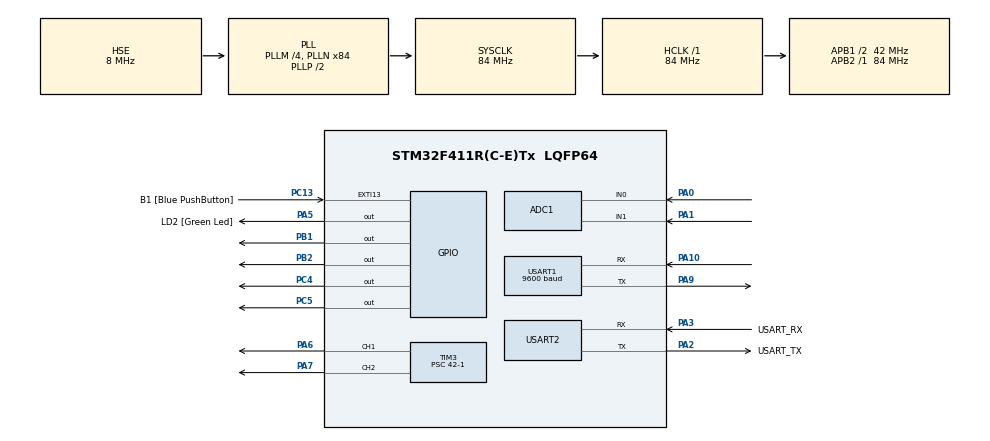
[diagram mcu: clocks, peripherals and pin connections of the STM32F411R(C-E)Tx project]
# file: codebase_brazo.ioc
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ADC1.Channel-0\#ChannelRegularConversion=ADC_CHANNEL_0
ADC1.Channel-1\#ChannelRegularConversion=ADC_CHANNEL_1
ADC1.ContinuousConvMode=ENABLE
ADC1.DMAContinuousRequests=ENABLE
ADC1.EOCSelection=ADC_EOC_SEQ_CONV
ADC1.NbrOfConversion=2
ADC1.NbrOfConversionFlag=1
ADC1.Rank-0\#ChannelRegularConversion=1
ADC1.Rank-1\#ChannelRegularConversion=2
ADC1.SamplingTime-0\#ChannelRegularConversion=ADC_SAMPLETIME_84CYCLES
ADC1.SamplingTime-1\#ChannelRegularConversion=ADC_SAMPLETIME_84CYCLES
ADC1.ScanConvMode=ENABLE
ADC1.master=1
Dma.ADC1.0.Direction=DMA_PERIPH_TO_MEMORY
Dma.ADC1.0.FIFOMode=DMA_FIFOMODE_DISABLE
Dma.ADC1.0.Instance=DMA2_Stream0
Dma.ADC1.0.MemDataAlignment=DMA_MDATAALIGN_HALFWORD
Dma.ADC1.0.MemInc=DMA_MINC_ENABLE
Dma.ADC1.0.Mode=DMA_CIRCULAR
Dma.ADC1.0.PeriphDataAlignment=DMA_PDATAALIGN_HALFWORD
Dma.ADC1.0.PeriphInc=DMA_PINC_DISABLE
Dma.ADC1.0.Priority=DMA_PRIORITY_HIGH
Dma.Request0=ADC1
Mcu.Family=STM32F4
Mcu.Name=STM32F411R(C-E)Tx
Mcu.Package=LQFP64
NVIC.DMA2_Stream0_IRQn=true\:0\:0\:false\:false\:true\:false\:true\:true
NVIC.PriorityGroup=NVIC_PRIORITYGROUP_0
NVIC.TIM2_IRQn=true\:0\:0\:false\:true\:true\:2\:true\:true\:true
NVIC.TIM4_IRQn=true\:0\:0\:false\:true\:true\:1\:true\:true\:true
PA0-WKUP.Signal=ADCx_IN0
PA1.Signal=ADCx_IN1
PA10.Mode=Asynchronous
PA10.Signal=USART1_RX
PA13.GPIO_Label=TMS
PA13.Mode=Serial_Wire
PA13.Signal=SYS_JTMS-SWDIO
PA14.GPIO_Label=TCK
PA14.Mode=Serial_Wire
PA14.Signal=SYS_JTCK-SWCLK
PA2.GPIO_Label=USART_TX
PA2.Mode=Asynchronous
PA2.Signal=USART2_TX
PA3.GPIO_Label=USART_RX
PA3.Mode=Asynchronous
PA3.Signal=USART2_RX
PA5.GPIO_Label=LD2 [Green Led]
PA5.Signal=GPIO_Output
PA6.Signal=S_TIM3_CH1
PA7.Signal=S_TIM3_CH2
PA9.Mode=Asynchronous
PA9.Signal=USART1_TX
PB1.Signal=GPIO_Output
PB2.Signal=GPIO_Output
PB3.GPIO_Label=SWO
PB3.Signal=SYS_JTDO-SWO
PC13-ANTI_TAMP.GPIO_Label=B1 [Blue PushButton]
PC13-ANTI_TAMP.GPIO_ModeDefaultEXTI=GPIO_MODE_IT_FALLING
PC13-ANTI_TAMP.Signal=GPXTI13
PC14-OSC32_IN.Mode=LSE-External-Oscillator
PC14-OSC32_IN.Signal=RCC_OSC32_IN
PC15-OSC32_OUT.Mode=LSE-External-Oscillator
PC15-OSC32_OUT.Signal=RCC_OSC32_OUT
PC4.Signal=GPIO_Output
PC5.Signal=GPIO_Output
PH0\ -\ OSC_IN.Mode=HSE-External-Oscillator
PH0\ -\ OSC_IN.Signal=RCC_OSC_IN
PH1\ -\ OSC_OUT.Mode=HSE-External-Oscillator
PH1\ -\ OSC_OUT.Signal=RCC_OSC_OUT
ProjectManager.HeapSize=0x200
ProjectManager.StackSize=0x400
ProjectManager.TargetToolchain=STM32CubeIDE
RCC.48MHZClocksFreq_Value=42000000
RCC.AHBFreq_Value=84000000
RCC.APB1CLKDivider=RCC_HCLK_DIV2
RCC.APB1Freq_Value=42000000
RCC.APB1TimFreq_Value=84000000
RCC.APB2Freq_Value=84000000
RCC.APB2TimFreq_Value=84000000
RCC.CortexFreq_Value=84000000
RCC.FLatency-AdvancedSettings=FLASH_LATENCY_2
RCC.HCLKFreq_Value=84000000
RCC.HSE_VALUE=8000000
RCC.HSI_VALUE=16000000
RCC.PLLM=4
RCC.PLLN=84
RCC.PLLSourceVirtual=RCC_PLLSOURCE_HSE
RCC.SYSCLKFreq_VALUE=84000000
RCC.SYSCLKSource=RCC_SYSCLKSOURCE_PLLCLK
RCC.VCOOutputFreq_Value=168000000
SH.ADCx_IN0.0=ADC1_IN0,IN0
SH.ADCx_IN1.0=ADC1_IN1,IN1
SH.S_TIM3_CH1.0=TIM3_CH1,PWM Generation1 CH1
SH.S_TIM3_CH2.0=TIM3_CH2,PWM Generation2 CH2
TIM2.Period=10000-1
TIM2.Prescaler=8400-1
TIM3.AutoReloadPreload=TIM_AUTORELOAD_PRELOAD_ENABLE
TIM3.Channel-PWM\ Generation1\ CH1=TIM_CHANNEL_1
TIM3.Channel-PWM\ Generation2\ CH2=TIM_CHANNEL_2
TIM3.Period=1000-1
TIM3.Prescaler=42-1
TIM4.Period=100-1
TIM4.Prescaler=8400-1
USART1.BaudRate=9600
USART1.VirtualMode=VM_ASYNC
USART2.VirtualMode=VM_ASYNC
VP_TIM2_VS_ClockSourceINT.Mode=Internal
VP_TIM3_VS_ClockSourceINT.Mode=Internal
VP_TIM4_VS_ClockSourceINT.Mode=Internal
board=NUCLEO-F411RE

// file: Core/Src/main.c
/* USER CODE BEGIN Header */
/**
  ******************************************************************************
  * @file           : main.c
  * @brief          : Main program body - Código combinado actuadores + RoboClaw
  ******************************************************************************
  * @attention
  *
  * Copyright (c) 2026 STMicroelectronics.
  * All rights reserved.
  *
  * This software is licensed under terms that can be found in the LICENSE file
  * in the root directory of this software component.
  * If no LICENSE file comes with this software, it is provided AS-IS.
  *
  ******************************************************************************
  */
/* USER CODE END Header */
#include "main.h"
#include "adc.h"
#include "dma.h"
#include "tim.h"
#include "usart.h"
#include "gpio.h"

/* USER CODE BEGIN Includes */
#include "RoboClaw.h"
#include <stdio.h>
#include <stdlib.h>
#include <stdbool.h>
#include <unistd.h>
#include <string.h>
/* USER CODE END Includes */

/* USER CODE BEGIN PD */
// Direcciones RoboClaw
#define RC_ADDR_BASE   0x81
#define RC_ADDR_WRIST  0x80

// Timeout de seguridad para RoboClaw (7 segundos)
#define TIMEOUT_MS 7000

#define RX_BUFFER_SIZE 128
/* USER CODE END PD */

/* USER CODE BEGIN PV */
char rx_buffer[RX_BUFFER_SIZE];
uint8_t rx_index = 0;

// Variables para actuadores lineales (ADC/PWM)
uint16_t adc_val[2];      // Buffer ADC (DMA)

int pos1 = 0;             // Posición objetivo actuador 1
int pos2 = 0;             // Posición objetivo actuador 2

float kp = 0.8f;          // Ganancia proporcional

int e1 = 0;               // Error actuador 1
int e2 = 0;               // Error actuador 2

int duty1 = 0;            // Duty cycle actuador 1
int duty2 = 0;            // Duty cycle actuador 2

// Variables para RoboClaw
RoboClaw_HandleTypeDef rcBase;
RoboClaw_HandleTypeDef rcWrist;

uint32_t lastCommandTime = 0;
bool motorsRunning = false;

// Scheduler por timers
volatile uint8_t flag_control = 0;
volatile uint8_t flag_print = 0;

/* USER CODE END PV */

void SystemClock_Config(void);
/* USER CODE BEGIN PFP */
// Funciones UART/printf
int uart2_write(int ch);
int __io_putchar(int ch);
int _read(int file, char *ptr, int len);
//funcion UART Ros
void parseROSCommand(char *cmd);
//feedback to ros
void sendROSFeedback(void);

// Funciones actuadores lineales
void forwardAct(int actuator, int duty);
void backwardAct(int actuator, int duty);
void actStop(void);

// Funciones RoboClaw
void stopAllRoboClaw(void);
void processCommand(uint8_t ch);
/* USER CODE END PFP */

int main(void)
{

  /* MCU Configuration--------------------------------------------------------*/

  /* Reset of all peripherals, Initializes the Flash interface and the Systick. */
  HAL_Init();

  /* Configure the system clock */
  SystemClock_Config();

  /* Initialize all configured peripherals */
  MX_GPIO_Init();
  MX_DMA_Init();
  MX_USART2_UART_Init();
  MX_ADC1_Init();
  MX_TIM3_Init();
  MX_USART1_UART_Init();
  MX_TIM2_Init();
  MX_TIM4_Init();
  /* USER CODE BEGIN 2 */

  //Inicializacion actuadores lineales
  HAL_TIM_PWM_Start(&htim3, TIM_CHANNEL_1);
  HAL_TIM_PWM_Start(&htim3, TIM_CHANNEL_2);
  HAL_ADC_Start_DMA(&hadc1, (uint32_t*)&adc_val, 2);

  // Iniciar timers scheduler
  HAL_TIM_Base_Start_IT(&htim4);   // control loop
  HAL_TIM_Base_Start_IT(&htim2);   // impresión debug

  // Inicializacion RoboClaw
  RoboClaw_Init(&rcBase, &huart1, 100);
  RoboClaw_Init(&rcWrist, &huart1, 100);

  // Detener todos los motores al inicio
  actStop();
  stopAllRoboClaw();

  // Mensaje de bienvenida
  printf("\r\n========================================\r\n");
  printf("		Control Base STM32\r\n");
  printf("========================================\r\n");
  printf("Controles Actuadores Lineales:\r\n");
  printf("  1/2/3 - Actuador 1: 25%%/50%%/75%%\r\n");
  printf("  4/5/6 - Actuador 2: 25%%/50%%/75%%\r\n");
  printf("  0 - Ambos a 0%%\r\n");
  printf("  9 - Ambos a 100%%\r\n");
  printf("----------------------------------------\r\n");
  printf("Controles RoboClaw:\r\n");
  printf("  A/D - Base izquierda/derecha\r\n");
  printf("  W/S - Muneca subir/bajar\r\n");
  printf("  Q/E - Muneca rotar izq/der\r\n");
  printf("  ESPACIO - Detener RoboClaw\r\n");
  printf("  X - Detener TODO\r\n");
  printf("----------------------------------------\r\n");
  printf("Auto-stop RoboClaw: 7 segundos\r\n\r\n");

  /* USER CODE END 2 */

  /* Infinite loop */
  /* USER CODE BEGIN WHILE */
  while (1)
  {

      // Control de actuadores
      if(flag_control==1)
      {
          flag_control = 0;

          int current1 = (adc_val[0] * 100) / 4095;
          int current2 = (adc_val[1] * 100) / 4095;

          // Calcular error
          e1 = pos1 - current1;
          e2 = pos2 - current2;

          // ACTUADOR 1
          if(abs(e1) < 2){
              __HAL_TIM_SET_COMPARE(&htim3, TIM_CHANNEL_1, 0);
              HAL_GPIO_WritePin(GPIOC, GPIO_PIN_4, GPIO_PIN_RESET);
              HAL_GPIO_WritePin(GPIOC, GPIO_PIN_5, GPIO_PIN_RESET);
          }else{
              duty1 = (int)(kp * abs(e1));
              if(duty1 > 49) duty1 = 49;

              if(e1 > 0){
                  forwardAct(1, duty1);
              }else{
                  backwardAct(1, duty1);
              }
          }

          // ACTUADOR 2
          if(abs(e2) < 2){
              __HAL_TIM_SET_COMPARE(&htim3, TIM_CHANNEL_2, 0);
              HAL_GPIO_WritePin(GPIOB, GPIO_PIN_0, GPIO_PIN_RESET);
              HAL_GPIO_WritePin(GPIOB, GPIO_PIN_1, GPIO_PIN_RESET);
          }else{
              duty2 = (int)(kp * abs(e2));
              if(duty2 > 49) duty2 = 49;

              if(e2 > 0){
                  forwardAct(2, duty2);
              }else{
                  backwardAct(2, duty2);
              }
          }

          //Revisar comandos UART ROS
          uint8_t ch;

          if(HAL_UART_Receive(&huart2, &ch, 1, 0) == HAL_OK)
          {
        	  if(ch == '\n')
        	  {
        	      if(rx_index > 0)
        	      {
        	          rx_buffer[rx_index] = 0;
        	          parseROSCommand(rx_buffer);
        	          rx_index = 0;
        	      }
        	  }
        	  else if(ch != '\r')
        	  {
        	      if(rx_index < RX_BUFFER_SIZE-1)
        	      {
        	          rx_buffer[rx_index++] = ch;
        	      }
        	      else
        	      {
        	          rx_index = 0;
        	      }
        	  }
          }

          //Timeout RoboClaw
          if (motorsRunning && (HAL_GetTick() - lastCommandTime > TIMEOUT_MS))
          {
              stopAllRoboClaw();
              motorsRunning = false;
              printf(">> AUTO-STOP RoboClaw (timeout 7s)\r\n");
          }
      }

      //  Impresion debug
      if(flag_print==1)
      {
          flag_print = 0;

          sendROSFeedback();
      }

  }
}

void SystemClock_Config(void)
{
  RCC_OscInitTypeDef RCC_OscInitStruct = {0};
  RCC_ClkInitTypeDef RCC_ClkInitStruct = {0};

  /** Configure the main internal regulator output voltage
  */
  __HAL_RCC_PWR_CLK_ENABLE();
  __HAL_PWR_VOLTAGESCALING_CONFIG(PWR_REGULATOR_VOLTAGE_SCALE1);

  /** Initializes the RCC Oscillators according to the specified parameters
  * in the RCC_OscInitTypeDef structure.
  */
  RCC_OscInitStruct.OscillatorType = RCC_OSCILLATORTYPE_HSE;
  RCC_OscInitStruct.HSEState = RCC_HSE_ON;
  RCC_OscInitStruct.PLL.PLLState = RCC_PLL_ON;
  RCC_OscInitStruct.PLL.PLLSource = RCC_PLLSOURCE_HSE;
  RCC_OscInitStruct.PLL.PLLM = 4;
  RCC_OscInitStruct.PLL.PLLN = 84;
  RCC_OscInitStruct.PLL.PLLP = RCC_PLLP_DIV2;
  RCC_OscInitStruct.PLL.PLLQ = 4;
  if (HAL_RCC_OscConfig(&RCC_OscInitStruct) != HAL_OK)
  {
    Error_Handler();
  }

  /** Initializes the CPU, AHB and APB buses clocks
  */
  RCC_ClkInitStruct.ClockType = RCC_CLOCKTYPE_HCLK|RCC_CLOCKTYPE_SYSCLK
                              |RCC_CLOCKTYPE_PCLK1|RCC_CLOCKTYPE_PCLK2;
  RCC_ClkInitStruct.SYSCLKSource = RCC_SYSCLKSOURCE_PLLCLK;
  RCC_ClkInitStruct.AHBCLKDivider = RCC_SYSCLK_DIV1;
  RCC_ClkInitStruct.APB1CLKDivider = RCC_HCLK_DIV2;
  RCC_ClkInitStruct.APB2CLKDivider = RCC_HCLK_DIV1;

  if (HAL_RCC_ClockConfig(&RCC_ClkInitStruct, FLASH_LATENCY_2) != HAL_OK)
  {
    Error_Handler();
  }
}

/* USER CODE BEGIN 4 */

// Funciones UART/printf
int uart2_write(int ch){
    while(!(USART2->SR & USART_SR_TXE)){}
    USART2->DR = (ch & 0xFF);
    return ch;
}

int __io_putchar(int ch){
    uart2_write(ch);
    return ch;
}

int _read(int file, char *ptr, int len){
    if (file == STDIN_FILENO){
        int count = 0;
        while(count < len){
            uint8_t ch;
            if(HAL_UART_Receive(&huart2, &ch, 1, HAL_MAX_DELAY) != HAL_OK)
                break;
            ptr[count++] = (char)ch;
            if(ch == '\n' || ch == '\r') break;
        }
        return count;
    }
    return -1;
}

// Funciones Actuadores Lineales
void forwardAct(int actuator, int duty){
    if(actuator == 1){
        __HAL_TIM_SET_COMPARE(&htim3, TIM_CHANNEL_1, duty);
        HAL_GPIO_WritePin(GPIOC, GPIO_PIN_4, GPIO_PIN_SET);
        HAL_GPIO_WritePin(GPIOC, GPIO_PIN_5, GPIO_PIN_RESET);
    }
    else if(actuator == 2){
        __HAL_TIM_SET_COMPARE(&htim3, TIM_CHANNEL_2, duty);
        HAL_GPIO_WritePin(GPIOB, GPIO_PIN_0, GPIO_PIN_SET);
        HAL_GPIO_WritePin(GPIOB, GPIO_PIN_1, GPIO_PIN_RESET);
    }
}

void backwardAct(int actuator, int duty){
    if(actuator == 1){
        __HAL_TIM_SET_COMPARE(&htim3, TIM_CHANNEL_1, duty);
        HAL_GPIO_WritePin(GPIOC, GPIO_PIN_4, GPIO_PIN_RESET);
        HAL_GPIO_WritePin(GPIOC, GPIO_PIN_5, GPIO_PIN_SET);
    }
    else if(actuator == 2){
        __HAL_TIM_SET_COMPARE(&htim3, TIM_CHANNEL_2, duty);
        HAL_GPIO_WritePin(GPIOB, GPIO_PIN_0, GPIO_PIN_RESET);
        HAL_GPIO_WritePin(GPIOB, GPIO_PIN_1, GPIO_PIN_SET);
    }
}

void actStop(void){
    __HAL_TIM_SET_COMPARE(&htim3, TIM_CHANNEL_1, 0);
    __HAL_TIM_SET_COMPARE(&htim3, TIM_CHANNEL_2, 0);
    HAL_GPIO_WritePin(GPIOB, GPIO_PIN_0, GPIO_PIN_RESET);
    HAL_GPIO_WritePin(GPIOB, GPIO_PIN_1, GPIO_PIN_RESET);
    HAL_GPIO_WritePin(GPIOC, GPIO_PIN_4, GPIO_PIN_RESET);
    HAL_GPIO_WritePin(GPIOC, GPIO_PIN_5, GPIO_PIN_RESET);
}

// Funciones RoboClaw
void stopAllRoboClaw(void)
{
    RoboClaw_ForwardM1(&rcBase, RC_ADDR_BASE, 0);
    RoboClaw_ForwardM1(&rcWrist, RC_ADDR_WRIST, 0);
    RoboClaw_ForwardM2(&rcWrist, RC_ADDR_WRIST, 0);
}

//Procesador de comandos unificado
void processCommand(uint8_t ch)
{
    char key = (char)ch;

    //  Comandos Actuadores Lineales
    if(key == '1') { pos1 = 25; printf(">> Act1 -> 25%%\r\n"); }
    else if(key == '2') { pos1 = 50; printf(">> Act1 -> 50%%\r\n"); }
    else if(key == '3') { pos1 = 75; printf(">> Act1 -> 75%%\r\n"); }
    else if(key == '4') { pos2 = 25; printf(">> Act2 -> 25%%\r\n"); }
    else if(key == '5') { pos2 = 50; printf(">> Act2 -> 50%%\r\n"); }
    else if(key == '6') { pos2 = 75; printf(">> Act2 -> 75%%\r\n"); }
    else if(key == '0') { pos1 = 0; pos2 = 0; printf(">> Ambos -> 0%%\r\n"); }
    else if(key == '9') { pos1 = 100; pos2 = 100; printf(">> Ambos -> 100%%\r\n"); }

    // Comandos RoboClaw
    // DETENER RoboClaw CON ESPACIO
    else if (key == ' ')
    {
        stopAllRoboClaw();
        motorsRunning = false;
        printf(">> RoboClaw DETENIDO\r\n");
    }

    // DETENER TODO CON X
    else if (key == 'X' || key == 'x')
    {
        stopAllRoboClaw();
        actStop();
        pos1 = 0;
        pos2 = 0;
        motorsRunning = false;
        printf(">> TODO DETENIDO\r\n");
    }

    // BASE - Izquierda/Derecha
    else if (key == 'A' || key == 'a')
    {
        RoboClaw_ForwardM1(&rcBase, RC_ADDR_BASE, 60);
        lastCommandTime = HAL_GetTick();
        motorsRunning = true;
        printf(">> Base IZQ\r\n");
    }
    else if (key == 'D' || key == 'd')
    {
        RoboClaw_BackwardM1(&rcBase, RC_ADDR_BASE, 60);
        lastCommandTime = HAL_GetTick();
        motorsRunning = true;
        printf(">> Base DER\r\n");
    }

    // MUÑECA - Subir/Bajar
    else if (key == 'W' || key == 'w')
    {
    	RoboClaw_ForwardBackwardMixed(&rcWrist, RC_ADDR_WRIST, 30);
        lastCommandTime = HAL_GetTick();
        motorsRunning = true;
        printf(">> Muneca SUBIR\r\n");
    }
    else if (key == 'S' || key == 's')
    {
    	RoboClaw_ForwardBackwardMixed(&rcWrist, RC_ADDR_WRIST, -30);
        lastCommandTime = HAL_GetTick();
        motorsRunning = true;
        printf(">> Muneca BAJAR\r\n");
    }

    // MUÑECA - Rotar
    else if (key == 'Q' || key == 'q')
    {
    	RoboClaw_LeftRightMixed(&rcWrist, RC_ADDR_WRIST, -30);
        lastCommandTime = HAL_GetTick();
        motorsRunning = true;
        printf(">> Muneca ROT IZQ\r\n");
    }
    else if (key == 'E' || key == 'e')
    {
    	RoboClaw_LeftRightMixed(&rcWrist, RC_ADDR_WRIST, 30);
        lastCommandTime = HAL_GetTick();
        motorsRunning = true;
        printf(">> Muneca ROT DER\r\n");
    }
}

// Timer Scheduler
void HAL_TIM_PeriodElapsedCallback(TIM_HandleTypeDef *htim)
{
	if(htim->Instance == TIM4)
	{
		flag_control = 1;
	}

	else if(htim->Instance == TIM2)
	{
		flag_print = 1;
	}
}

void parseROSCommand(char *cmd)
{

	if(strncmp(cmd,"CMD:",4)!=0)
		return;
    float base = 0;
    float w1 = 0;
    float w2 = 0;
    float a1 = 0;
    float a2 = 0;

    int parsed = sscanf(cmd,
        "CMD:B:%f;W1:%f;W2:%f;A1:%f;A2:%f",
        &base, &w1, &w2, &a1, &a2);

    if(parsed == 5)
    {
    	 HAL_GPIO_TogglePin(LD2_GPIO_Port, LD2_Pin); // LED blink
        // BASE
        if(base > 0)
            RoboClaw_ForwardM1(&rcBase, RC_ADDR_BASE, base);
        else
            RoboClaw_BackwardM1(&rcBase, RC_ADDR_BASE, base);

        // WRIST M1
        if(w1 > 0)
            RoboClaw_ForwardM1(&rcWrist, RC_ADDR_WRIST, w1);
        else
            RoboClaw_BackwardM1(&rcWrist, RC_ADDR_WRIST, w1);

        // WRIST M2
        if(w2 > 0)
            RoboClaw_ForwardM2(&rcWrist, RC_ADDR_WRIST, w2);
        else
            RoboClaw_BackwardM2(&rcWrist, RC_ADDR_WRIST, w2);

        // ACTUADORES
        pos1 = a1;
        pos2 = a2;

        lastCommandTime = HAL_GetTick();
        motorsRunning = true;
    }
}

void sendROSFeedback(void)
{
    int baseTicks = 0;
    int w1Ticks = 0;
    int w2Ticks = 0;

    int pot1 = adc_val[0];
    int pot2 = adc_val[1];

    printf("FB:BE:%d;W1:%d;W2:%d;P1:%d;P2:%d\n",
            baseTicks,
            w1Ticks,
            w2Ticks,
            pot1,
            pot2);
}
/* USER CODE END 4 */

void Error_Handler(void)
{
  __disable_irq();
  while (1)
  {
  }
}
